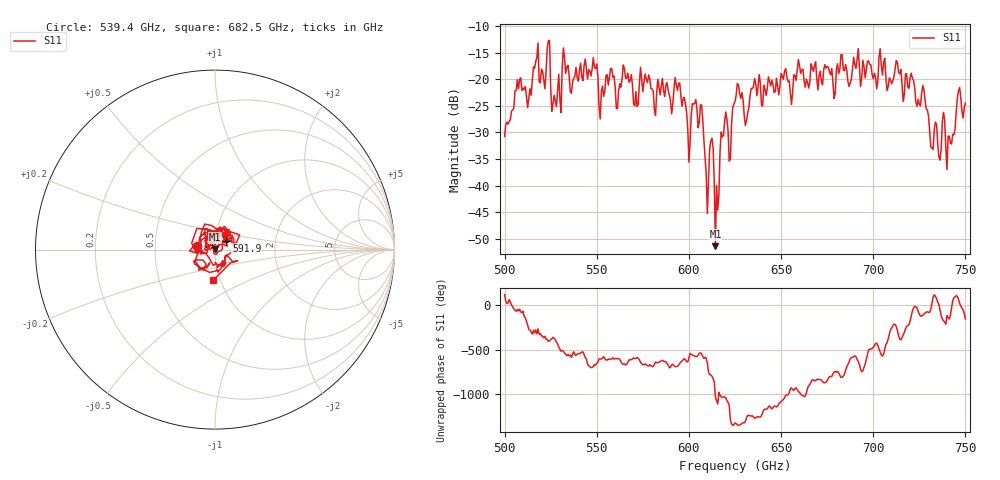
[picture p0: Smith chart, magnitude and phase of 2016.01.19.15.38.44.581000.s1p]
!Created with skrf (http://scikit-rf.org).
# GHz S RI R 50.0
!freq ReS11 ImS11
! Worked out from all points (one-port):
!   401 points, 500 GHz to 750 GHz, reference 50 ohm
!   lowest |S11| = -51.4 dB at 614.4 GHz (marker M1), VSWR 1.01, Z = 50.2 + j0.2 ohm
!   |S11| at or under -10 dB: start of sweep to end of sweep
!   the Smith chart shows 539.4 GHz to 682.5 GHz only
!   S11 on the Smith chart (normalised r, x): 539.4 GHz: 0.82, +0.03; 591.9 GHz: 1.13, +0.11; 682.5 GHz: 0.93, -0.32
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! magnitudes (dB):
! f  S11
! 500 GHz  -30.8
! 507.5 GHz  -21.8
! 513.1 GHz  -23.5
! 516.9 GHz  -16.7
! 523.8 GHz  -12.7
! 526.9 GHz  -23.0
! 531.2 GHz  -17.8
! 539.4 GHz  -19.7
! 562.5 GHz  -20.8
! 591.9 GHz  -21.9
! 593.8 GHz  -22.1
! 600 GHz  -35.6
! 602.5 GHz  -24.7
! 606.9 GHz  -24.9
! 609.4 GHz  -37.9
! 612.5 GHz  -31.1
! 614.4 GHz  -51.4
! 615.6 GHz  -44.6
! 618.8 GHz  -30.5
! 622.5 GHz  -35.0
! 625 GHz  -24.2
! 656.2 GHz  -22.5
! 682.5 GHz  -15.4
! 687.5 GHz  -20.7
! 690.6 GHz  -18.0
! 718.8 GHz  -21.4
! 735.6 GHz  -34.6
! 750 GHz  -24.5
